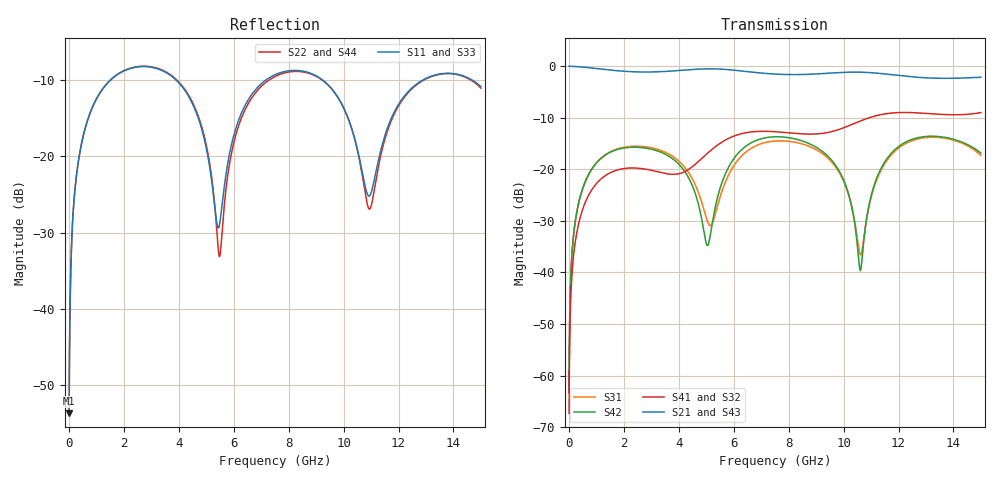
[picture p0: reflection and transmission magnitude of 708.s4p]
! Created with skrf 1.8.0 (http://scikit-rf.org).
# GHz S RI R 50.0
!freq ReS11 ImS11 ReS12 ImS12 ReS13 ImS13
! ReS14 ImS14
! ReS21 ImS21 ReS22 ImS22 ReS23 ImS23
! ReS24 ImS24
! ReS31 ImS31 ReS32 ImS32 ReS33 ImS33
! ReS34 ImS34
! ReS41 ImS41 ReS42 ImS42 ReS43 ImS43
! ReS44 ImS44
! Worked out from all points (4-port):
!   2499 points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, 5 MHz to 15 GHz, reference 50 ohm
!   strongest paths, dB at 5 MHz, 3.476 GHz, 7.19 GHz, 11.1 GHz, 15 GHz:
!     S21: 0.0, -1.0, -1.4, -1.3, -2.2
!     S43: 0.0, -1.0, -1.4, -1.3, -2.1
!     S41: -67.3, -20.8, -12.6, -9.7, -9.0
!     S32: -67.3, -20.9, -12.7, -9.7, -9.1
!     S42: -63.3, -17.0, -13.9, -23.3, -16.9
!     S31: -63.3, -16.6, -14.8, -23.7, -17.3
!   lowest |S11| = -53.7 dB at 5 MHz (marker M1), VSWR 1.00, Z = 50.2 + j0.125 ohm
!   |S11| at or under -10 dB: start of sweep to 1.507 GHz; 3.906 GHz to 7.162 GHz (3.256 GHz wide, 58.8 % of centre); 9.244 GHz to 12.87 GHz (3.63 GHz wide, 32.8 % of centre) (the widest 3 of 4)
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0.005  0.00164 0.00124  0.9983 -0.0032  8.35e-05 0.000681  -8.09e-05 -0.000422
       0.9983 -0.0032  0.00164 0.00124  -8.09e-05 -0.000422  8.34e-05 0.000681
       8.35e-05 0.000681  -8.09e-05 -0.000422  0.00164 0.00124  0.9983 -0.0032
       -8.09e-05 -0.000422  8.34e-05 0.000681  0.9983 -0.0032  0.00164 0.00124
0.3126303  0.0241 0.0817  0.9671 -0.1988  0.0117 0.0404  -0.00953 -0.0248
           0.9671 -0.1988  0.0241 0.0817  -0.00952 -0.0248  0.0113 0.0405
           0.0117 0.0404  -0.00952 -0.0248  0.0241 0.0817  0.9671 -0.1987
           -0.00953 -0.0248  0.0113 0.0405  0.9671 -0.1987  0.0241 0.0817
1.519383  0.2621 0.1797  0.5627 -0.7209  0.1341 0.0634  -0.0925 -0.00823
          0.5627 -0.7209  0.264 0.1784  -0.0924 -0.00838  0.1288 0.0703
          0.1341 0.0634  -0.0924 -0.00838  0.2621 0.1796  0.5627 -0.7208
          -0.0925 -0.00823  0.1288 0.0703  0.5627 -0.7208  0.2639 0.1785
5.320967  0.035 -0.0277  -0.9277 -0.1487  -0.0257 0.0255  -0.0211 0.1632
          -0.9277 -0.1487  0.0237 -0.0382  -0.0236 0.1628  0.0222 0.0358
          -0.0257 0.0255  -0.0236 0.1628  0.0355 -0.0266  -0.9277 -0.1486
          -0.0211 0.1632  0.0222 0.0358  -0.9277 -0.1486  0.0228 -0.0374
8.553564  0.3576 -0.0535  0.0261 0.8294  0.1531 -0.0825  0.2047 -0.0805
          0.0261 0.8294  0.3539 -0.049  0.2041 -0.0738  0.1565 -0.1
          0.1531 -0.0825  0.2041 -0.0738  0.3594 -0.0591  0.0253 0.829
          0.2047 -0.0805  0.1565 -0.1  0.0253 0.829  0.3541 -0.0426
10.61067  0.0657 -0.0627  0.8127 0.3188  -0.0148 0.000899  0.0939 -0.2782
          0.8127 0.3188  0.0575 -0.0668  0.1051 -0.2742  -0.0103 0.00167
          -0.0148 0.000899  0.1051 -0.2742  0.0577 -0.0676  0.8119 0.3207
          0.0939 -0.2782  -0.0103 0.00167  0.8119 0.3207  0.067 -0.0651
15  0.2545 -0.1327  -0.3344 -0.7041  0.0351 -0.1313  -0.2964 0.1937
    -0.3344 -0.7041  0.2437 -0.1388  -0.3047 0.1775  0.0227 -0.1417
    0.0351 -0.1313  -0.3047 0.1775  0.2523 -0.1323  -0.3327 -0.7063
    -0.2964 0.1937  0.0227 -0.1417  -0.3327 -0.7063  0.2407 -0.1342
